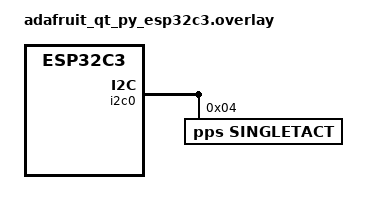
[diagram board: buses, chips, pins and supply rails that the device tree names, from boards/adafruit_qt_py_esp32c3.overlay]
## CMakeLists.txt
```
cmake_minimum_required(VERSION 3.20.0)

find_package(Zephyr REQUIRED HINTS $ENV{ZEPHYR_BASE})
project(force_sensor)

target_sources(app PRIVATE
  src/main.c
  src/shell.c
)
```

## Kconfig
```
mainmenu "Application options"

config APP_WIFI_STACK_SIZE
	int "WiFi manager stack size"
	default 2048

config APP_WIFI_INIT_PRIORITY
	int "WiFi manager init priority"
	default 90

config APP_WIFI_THREAD_PRIORITY
	int "WiFi manager thread priority"
	default 7

source "Kconfig.zephyr"
```

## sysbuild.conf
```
SB_CONFIG_BOOTLOADER_MCUBOOT=y
# SB_CONFIG_MCUBOOT_MODE_SWAP_USING_MOVE=y
```

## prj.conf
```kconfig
# CONFIG_NEWLIB_LIBC=y
CONFIG_HEAP_MEM_POOL_SIZE=49152

# Logging
CONFIG_LOG=y
CONFIG_CBPRINTF_FP_SUPPORT=y

# Flash and Storage
CONFIG_FLASH=y
CONFIG_FLASH_MAP=y
CONFIG_STREAM_FLASH=y
CONFIG_IMG_MANAGER=y
CONFIG_IMG_ERASE_PROGRESSIVELY=y

# Settings
CONFIG_SETTINGS=y
CONFIG_ZMS=y

# Networking
CONFIG_NETWORKING=y
CONFIG_NET_DHCPV4=y
CONFIG_NET_IPV4=y
CONFIG_NET_IPV6=n
CONFIG_NET_L2_ETHERNET=y
CONFIG_NET_L2_WIFI_MGMT=y
CONFIG_NET_L2_WIFI_SHELL=y
CONFIG_NET_SHELL=y
CONFIG_WIFI=y
CONFIG_WIFI_CREDENTIALS=y
CONFIG_WIFI_CREDENTIALS_BACKEND_SETTINGS=y
CONFIG_WIFI_NM=y

# WiFi connection management: conn_mgr + the CONNECTIVITY_WIFI_MGMT
# implementation from the rosterloh-drivers module. Auto-connects at boot
# using stored credentials; provision with: wifi cred add -s <ssid> -k 1 -p <psk>
CONFIG_NET_CONNECTION_MANAGER=y
CONFIG_NET_CONNECTION_MANAGER_CONNECTIVITY_WIFI_MGMT=y
CONFIG_WIFI_CONNECTIVITY=y
```

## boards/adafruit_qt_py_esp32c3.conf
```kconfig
CONFIG_I2C=y
CONFIG_SENSOR=y
# Force ESP32 WiFi to use system heap
# CONFIG_ESP_HEAP_RUNTIME=n
CONFIG_WIFI_STA_AUTO_DHCPV4=y
```

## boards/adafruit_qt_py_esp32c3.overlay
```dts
&i2c0 {
	singletact: singletact@4 {
		compatible = "pps,singletact";
		reg = <0x04>;
		baseline-samples = <5>;
		sensor-rating = <450000>;
		status = "okay";
	};
};
```

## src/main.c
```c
#include <zephyr/kernel.h>
#include <zephyr/app_version.h>

#include <zephyr/logging/log.h>
LOG_MODULE_REGISTER(main);

int main(void)
{
	LOG_INF("Force Sensor %s", APP_VERSION_STRING);

	return 0;
}
```

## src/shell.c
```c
#include <zephyr/device.h>
#include <zephyr/kernel.h>
#include <zephyr/drivers/sensor.h>
#include <zephyr/logging/log.h>
#include <zephyr/shell/shell.h>
#include <drivers/sensor/singletact.h>

LOG_MODULE_REGISTER(test_shell, LOG_LEVEL_INF);

#define TEST_FORCE_START_HELP                                                                      \
	SHELL_HELP("Start reading from force sensor.\n"                                            \
		   "Read interval is optional. Rate is 50ms when no interval provided.",           \
		   "[<read interval in ms>]")

static struct {
	const struct shell *sh;
	const struct device *dev;
	bool reading;
	struct k_timer read_timer;
} test_shell_context;

static void force_read_fn(struct k_timer *timer)
{
	struct sensor_value val;
	float force;
	uint16_t raw, baseline;
	int err;

	// struct test_shell_context *ctx = CONTAINER_OF(timer, struct test_shell_context, timer);

	if (test_shell_context.reading && test_shell_context.dev) {
		/* Read all sensors */
		err = sensor_sample_fetch(test_shell_context.dev);
		if (err) {
			LOG_ERR("Force sensor fetch failed: %d", err);
		}

		sensor_channel_get(test_shell_context.dev, SENSOR_CHAN_RAW, &val);
		raw = val.val1;
		baseline = val.val2;

		sensor_channel_get(test_shell_context.dev, SENSOR_CHAN_FORCE, &val);
		force = sensor_value_to_float(&val);

		LOG_RAW("%d,%d,%.6f\n", raw, baseline, (double)force);
	}
}

static int cmd_force_tare(const struct shell *sh, size_t argc, char *argv[])
{
	return 0;
}

static int cmd_force_set_address(const struct shell *sh, size_t argc, char *argv[])
{
	return 0;
}

static int cmd_force_start(const struct shell *sh, size_t argc, char *argv[])
{
	test_shell_context.sh = sh;
	if (test_shell_context.reading) {
		shell_error(sh, "Force sensor reading is already active.");
		return -ENOEXEC;
	}

	if (argc > 1) {
		int interval = atoi(argv[1]);
		if (interval <= 0) {
			shell_error(sh, "Invalid read interval: %s", argv[1]);
			return -EINVAL;
		}
		test_shell_context.reading = true;
		k_timer_start(&test_shell_context.read_timer, K_NO_WAIT, K_MSEC(interval));
	} else {
		test_shell_context.reading = true;
		k_timer_start(&test_shell_context.read_timer, K_NO_WAIT, K_MSEC(50));
	}

	return 0;
}

static int cmd_force_stop(const struct shell *sh, size_t argc, char *argv[])
{
	test_shell_context.sh = sh;
	if (test_shell_context.reading) {
		k_timer_stop(&test_shell_context.read_timer);
		test_shell_context.reading = false;
		shell_info(sh, "Force sensor reading stopped.");
	} else {
		shell_warn(sh, "Force sensor reading is not active.");
	}

	return 0;
}

SHELL_SUBCMD_SET_CREATE(test_commands, (test));

SHELL_STATIC_SUBCMD_SET_CREATE(
	test_cmd_force,
	SHELL_CMD_ARG(tare, NULL,
		      "Reset the baseline value of the force sensor to current value.\n",
		      cmd_force_tare, 0, 0),
	SHELL_CMD_ARG(set_address, NULL, "Set the address of the force sensor.\n",
		      cmd_force_set_address, 0, 0),
	SHELL_CMD_ARG(start, NULL, TEST_FORCE_START_HELP, cmd_force_start, 0, 1),
	SHELL_CMD_ARG(stop, NULL, "Stop reading from force sensors.\n", cmd_force_stop, 0, 0),
	SHELL_SUBCMD_SET_END);

SHELL_SUBCMD_ADD((test), force, &test_cmd_force, "Force sensor testing.\n", NULL, 0, 0);

SHELL_CMD_REGISTER(test, &test_commands, "Test commands", NULL);

static int test_shell_init(void)
{
	test_shell_context.sh = NULL;
	test_shell_context.dev = DEVICE_DT_GET_ONE(pps_singletact);
	test_shell_context.reading = false;

	if (!device_is_ready(test_shell_context.dev)) {
		LOG_ERR("Force sensor device %s is not ready.", test_shell_context.dev->name);
		test_shell_context.dev = NULL;
	} else {
		LOG_DBG("Force sensor device %s is ready.", test_shell_context.dev->name);
	}

	k_timer_init(&test_shell_context.read_timer, force_read_fn, NULL);

	return 0;
}

SYS_INIT(test_shell_init, APPLICATION, CONFIG_KERNEL_INIT_PRIORITY_DEFAULT);
```

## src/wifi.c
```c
#include <zephyr/logging/log.h>
LOG_MODULE_REGISTER(wifi, LOG_LEVEL_INF);

#include <zephyr/device.h>
#include <zephyr/kernel.h>
#include <zephyr/net/net_mgmt.h>
#include <zephyr/net/wifi_credentials.h>
#include <zephyr/net/wifi_mgmt.h>
#include <zephyr/pm/device.h>
#include <zephyr/settings/settings.h>
#include <zephyr/shell/shell.h>

#define WIFI_MANAGER_MGMT_EVENTS (NET_EVENT_WIFI_CONNECT_RESULT | NET_EVENT_WIFI_DISCONNECT_RESULT)

#define NET_STATE_WIFI_CONNECTED  BIT(0)
#define NET_STATE_WIFI_CONNECTING BIT(1)
#define NET_STATE_IPV4_READY      BIT(2)

enum wifi_state {
	WIFI_STATE_IDLE,
	WIFI_STATE_WAITING_FOR_LOWER_UP,
	WIFI_STATE_CONNECTING,
	WIFI_STATE_DISCONNECTING,
	WIFI_STATE_READY,
	WIFI_STATE_LAST = WIFI_STATE_READY,
	WIFI_STATE_INVALID,
	WIFI_STATE_WAIT,
};

enum wifi_event {
	WIFI_EVENT_START,
	WIFI_EVENT_LOWER_UP,
	WIFI_EVENT_CONNECTED,
	WIFI_EVENT_DISCONNECTED,
	WIFI_EVENT_IP_ADD,
	WIFI_EVENT_IP_DEL,
};

struct wifi_manager_config {
	k_thread_stack_t *workq_stack;
	size_t workq_stack_size;
	struct k_work_queue_config workq_config;
};

enum wifi_manager_flags {
	WIFI_FLAG_ENABLE,
	WIFI_FLAG_RECONNECT,
};

struct wifi_manager_data {
	struct net_if *iface;

	struct k_work_q workq;
	enum wifi_state state;

	atomic_t net_state;
	struct k_work net_mgmt_event_work;
	int net_state_old;

	atomic_t flags;

	enum wifi_event event;
	struct k_work event_work;

	struct net_mgmt_event_callback ipv4_mgmt_cb;
	struct net_mgmt_event_callback wifi_mgmt_cb;
};

static const char *wifi_state_str(enum wifi_state state)
{
	switch (state) {
	case WIFI_STATE_IDLE:
		return "IDLE";
	case WIFI_STATE_WAITING_FOR_LOWER_UP:
		return "WAIT_FOR_LOWER_UP";
	case WIFI_STATE_CONNECTING:
		return "CONNECTING";
	case WIFI_STATE_DISCONNECTING:
		return "DISCONNECTING";
	case WIFI_STATE_READY:
		return "READY";
	case WIFI_STATE_INVALID:
		return "INVALID";
	case WIFI_STATE_WAIT:
	default:
		return "WAIT";
	}

	return "";
}

static const char *wifi_event_str(enum wifi_event event)
{
	switch (event) {
	case WIFI_EVENT_START:
		return "START";
	case WIFI_EVENT_LOWER_UP:
		return "LOWER_UP";
	case WIFI_EVENT_CONNECTED:
		return "CONNECTED";
	case WIFI_EVENT_DISCONNECTED:
		return "DISCONNECTED";
	case WIFI_EVENT_IP_ADD:
		return "IP_ADD";
	case WIFI_EVENT_IP_DEL:
		return "IP_DEL";
	}

	return "";
}

#define MAP_OFFSET 1

#define IDL      (WIFI_STATE_IDLE + MAP_OFFSET)
#define LUP      (WIFI_STATE_WAITING_FOR_LOWER_UP + MAP_OFFSET)
#define CON      (WIFI_STATE_CONNECTING + MAP_OFFSET)
#define DIS      (WIFI_STATE_DISCONNECTING + MAP_OFFSET)
#define RDY      (WIFI_STATE_READY + MAP_OFFSET)
#define INV      (WIFI_STATE_INVALID + MAP_OFFSET)
#define WAIT(ms) (WIFI_STATE_WAIT + MAP_OFFSET + (ms))

static const int wifi_state_change_map[][WIFI_STATE_LAST + 1] = {
	/* IDL, LUP,       CON,         DIS,        RDY */
	[WIFI_EVENT_START] = {LUP, WAIT(100), INV, INV, INV},
	[WIFI_EVENT_LOWER_UP] = {INV, CON, INV, INV, INV},
	[WIFI_EVENT_CONNECTED] = {INV, INV, 0, WAIT(3000), 0},
	[WIFI_EVENT_DISCONNECTED] = {INV, INV, WAIT(1000), IDL, CON},
	[WIFI_EVENT_IP_ADD] = {INV, INV, RDY, RDY, 0},
	[WIFI_EVENT_IP_DEL] = {INV, INV, 0, 0, CON},
};

static uint8_t wifi_ssid[WIFI_SSID_MAX_LEN];
static size_t wifi_ssid_len;
static bool has_creds = false;

static void wifi_event_notify(struct wifi_manager_data *wifi_mgmt, enum wifi_event event)
{
	wifi_mgmt->event = event;
	k_work_submit_to_queue(&wifi_mgmt->workq, &wifi_mgmt->event_work);
}

/**
 * @brief Update CONNECTING flag from wifi_mgmt workqueue
 *
 * @note This function needs to be used only from within workqueue, as it
 * accesses both atomic 'net_state' and unprotected 'net_state_old'.
 * 'net_state_old' is altered to make clear that CONNECTING state is up-to-date
 * with workqueue processing logic.
 */
static void wifi_mgmt_connecting_update(struct wifi_manager_data *wifi_mgmt, bool connecting)
{
	if (connecting) {
		atomic_or(&wifi_mgmt->net_state, NET_STATE_WIFI_CONNECTING);
		wifi_mgmt->net_state_old |= NET_STATE_WIFI_CONNECTING;
	} else {
		atomic_and(&wifi_mgmt->net_state, ~NET_STATE_WIFI_CONNECTING);
		wifi_mgmt->net_state_old &= ~NET_STATE_WIFI_CONNECTING;
	}
}

static void check_stored_creds(void *cb_arg, const char *ssid, size_t ssid_len)
{
	int ret = 0;
	struct wifi_credentials_personal creds = {0};

	ret = wifi_credentials_get_by_ssid_personal_struct(ssid, ssid_len, &creds);
	if (ret == 0) {
		has_creds = true;
		memcpy(wifi_ssid, creds.header.ssid, creds.header.ssid_len);
		wifi_ssid_len = creds.header.ssid_len;
	}
}

static void wifi_connect(struct wifi_manager_data *wifi_mgmt)
{
	int err;

	wifi_credentials_for_each_ssid(check_stored_creds, NULL);
	if (!has_creds) {
		LOG_DBG("No Wi-Fi credentials found");
		wifi_event_notify(wifi_mgmt, WIFI_EVENT_DISCONNECTED);
		return;
	}

	LOG_INF("Connecting to '%.*s'", wifi_ssid_len, wifi_ssid);

	wifi_mgmt_connecting_update(wifi_mgmt, true);

	// err = net_mgmt(NET_REQUEST_WIFI_CONNECT, wifi_mgmt->iface, &params, sizeof(params));
	err = net_mgmt(NET_REQUEST_WIFI_CONNECT, wifi_mgmt->iface, NULL, 0);
	if (err == -EALREADY) {
		LOG_INF("already connected");

		wifi_mgmt_connecting_update(wifi_mgmt, false);

		if (atomic_test_and_clear_bit(&wifi_mgmt->flags, WIFI_FLAG_RECONNECT)) {
			LOG_INF("reconnecting");

			err = net_mgmt(NET_REQUEST_WIFI_DISCONNECT, wifi_mgmt->iface, NULL, 0);
			if (err) {
				LOG_ERR("failed to request disconnect: %d", err);
				goto handle_err;
			}
		} else {
			wifi_event_notify(wifi_mgmt, WIFI_EVENT_CONNECTED);
		}
	} else if (err) {
		LOG_ERR("failed to request connect: %d", err);
		goto handle_err;
	}

	return;

handle_err:
	wifi_mgmt_connecting_update(wifi_mgmt, false);
	wifi_event_notify(wifi_mgmt, WIFI_EVENT_DISCONNECTED);
}

static void wifi_disconnect(struct wifi_manager_data *wifi_mgmt)
{
	int err;

	err = net_mgmt(NET_REQUEST_WIFI_DISCONNECT, wifi_mgmt->iface, NULL, 0);
	if (err) {
		LOG_ERR("failed to request disconnect: %d", err);
		wifi_event_notify(wifi_mgmt, WIFI_EVENT_DISCONNECTED);
	}
}

static void wifi_check_lower_up(struct wifi_manager_data *wifi_mgmt)
{
	if (IS_ENABLED(CONFIG_WIFI_ESP32) ||
	    net_if_flag_is_set(wifi_mgmt->iface, NET_IF_LOWER_UP)) {
		wifi_event_notify(wifi_mgmt, WIFI_EVENT_LOWER_UP);
	} else {
		wifi_event_notify(wifi_mgmt, WIFI_EVENT_START);
	}
}

static void wifi_ready(struct wifi_manager_data *wifi_mgmt)
{
	LOG_DBG("ready");
}

static void wifi_state_change(struct wifi_manager_data *wifi_mgmt, enum wifi_state state)
{
	LOG_DBG("state %s (%d) -> %s (%d)", wifi_state_str(wifi_mgmt->state), wifi_mgmt->state,
		wifi_state_str(state), state);

	wifi_mgmt->state = state;
}

static void net_mgmt_event_handle(struct k_work *work)
{
	struct wifi_manager_data *wifi_mgmt =
		CONTAINER_OF(work, struct wifi_manager_data, net_mgmt_event_work);
	atomic_val_t net_state = atomic_get(&wifi_mgmt->net_state);

	if (wifi_mgmt->net_state_old == net_state) {
		/* Nothing to do */
		return;
	}

	if (net_state & NET_STATE_IPV4_READY) {
		wifi_event_notify(wifi_mgmt, WIFI_EVENT_IP_ADD);
	} else if (net_state & NET_STATE_WIFI_CONNECTED) {
		if (wifi_mgmt->net_state_old & NET_STATE_WIFI_CONNECTED) {
			wifi_event_notify(wifi_mgmt, WIFI_EVENT_IP_DEL);
		} else {
			wifi_event_notify(wifi_mgmt, WIFI_EVENT_CONNECTED);
		}
	} else {
		wifi_event_notify(wifi_mgmt, WIFI_EVENT_DISCONNECTED);
	}

	wifi_mgmt->net_state_old = net_state;
}

static void wifi_event_handle(struct k_work *work)
{
	struct wifi_manager_data *wifi_mgmt =
		CONTAINER_OF(work, struct wifi_manager_data, event_work);
	enum wifi_event event = wifi_mgmt->event;
	enum wifi_state old_state = wifi_mgmt->state;
	int map_value = wifi_state_change_map[event][old_state];
	enum wifi_state new_state = map_value - MAP_OFFSET;
	int sleep_msec = 0;

	if (map_value - MAP_OFFSET >= WIFI_STATE_WAIT) {
		new_state = old_state;
		sleep_msec = map_value - MAP_OFFSET - (int)WIFI_STATE_WAIT;
	}

	if (map_value == 0) {
		LOG_DBG("Nothing to do according to state map (state %s[%d])",
			wifi_state_str(old_state), (int)old_state);
		return;
	}

	LOG_DBG("event %s (%d) (%s[%d] -> %s[%d])", wifi_event_str(event), event,
		wifi_state_str(old_state), (int)old_state, wifi_state_str(new_state),
		(int)new_state);

	if (new_state == WIFI_STATE_INVALID) {
		LOG_ERR("Invalid event %s (%d) during state %s (%d)", wifi_event_str(event), event,
			wifi_state_str(old_state), old_state);
		return;
	}

	wifi_state_change(wifi_mgmt, new_state);

	if (new_state == old_state) {
		/* Give a bit of time between retries */
		LOG_DBG("Sleeping for %d ms", sleep_msec);
		k_sleep(K_MSEC(sleep_msec));
	}

	switch (new_state) {
	case WIFI_STATE_IDLE:
		break;
	case WIFI_STATE_WAITING_FOR_LOWER_UP:
		wifi_check_lower_up(wifi_mgmt);
		break;
	case WIFI_STATE_CONNECTING:
		wifi_connect(wifi_mgmt);
		break;
	case WIFI_STATE_DISCONNECTING:
		wifi_disconnect(wifi_mgmt);
		break;
	case WIFI_STATE_READY:
		wifi_ready(wifi_mgmt);
		break;
	case WIFI_STATE_INVALID:
	case WIFI_STATE_WAIT:
		break;
	}
}

static inline atomic_val_t atomic_update(atomic_t *target, atomic_val_t value, atomic_val_t mask)
{
	atomic_val_t flags;

	do {
		flags = atomic_get(target);
	} while (!atomic_cas(target, flags, (flags & ~mask) | value));

	return flags;
}

static void ipv4_changed(struct net_mgmt_event_callback *cb, uint64_t mgmt_event,
			 struct net_if *iface)
{
	struct wifi_manager_data *wifi_mgmt =
		CONTAINER_OF(cb, struct wifi_manager_data, ipv4_mgmt_cb);

	LOG_DBG("ipv4 event: %llx", (unsigned long long)mgmt_event);

	switch (mgmt_event) {
	case NET_EVENT_IPV4_ADDR_ADD:
		atomic_or(&wifi_mgmt->net_state, NET_STATE_IPV4_READY);
		k_work_submit_to_queue(&wifi_mgmt->workq, &wifi_mgmt->net_mgmt_event_work);
		break;
	case NET_EVENT_IPV4_ADDR_DEL:
		atomic_and(&wifi_mgmt->net_state, ~NET_STATE_IPV4_READY);
		k_work_submit_to_queue(&wifi_mgmt->workq, &wifi_mgmt->net_mgmt_event_work);
		break;
	}
}

static inline int wifi_connect_error(const struct wifi_status *status)
{
	return status->status;
}

static void wifi_mgmt_event_handler(struct net_mgmt_event_callback *cb, uint64_t mgmt_event,
				    struct net_if *iface)
{
	struct wifi_manager_data *wifi_mgmt =
		CONTAINER_OF(cb, struct wifi_manager_data, wifi_mgmt_cb);
	const struct wifi_status *status = cb->info;

	LOG_DBG("wifi event: %llx", (unsigned long long)mgmt_event);

	switch (mgmt_event) {
	case NET_EVENT_WIFI_CONNECT_RESULT:
		if (wifi_connect_error(status)) {
			atomic_and(&wifi_mgmt->net_state,
				   ~(NET_STATE_WIFI_CONNECTED | NET_STATE_WIFI_CONNECTING |
				     NET_STATE_IPV4_READY));
		} else {
			atomic_update(&wifi_mgmt->net_state, NET_STATE_WIFI_CONNECTED,
				      (NET_STATE_WIFI_CONNECTED | NET_STATE_WIFI_CONNECTING));
		}
		k_work_submit_to_queue(&wifi_mgmt->workq, &wifi_mgmt->net_mgmt_event_work);
		break;
	case NET_EVENT_WIFI_DISCONNECT_RESULT:
		atomic_and(&wifi_mgmt->net_state,
			   ~(NET_STATE_WIFI_CONNECTED | NET_STATE_WIFI_CONNECTING |
			     NET_STATE_IPV4_READY));
		k_work_submit_to_queue(&wifi_mgmt->workq, &wifi_mgmt->net_mgmt_event_work);
		break;
	default:
		break;
	}
}

static struct wifi_manager_data wifi_manager_data;

K_THREAD_STACK_DEFINE(wifi_manager_work_q_stack, CONFIG_APP_WIFI_STACK_SIZE);

static const struct wifi_manager_config wifi_manager_config = {
	.workq_stack = wifi_manager_work_q_stack,
	.workq_stack_size = K_THREAD_STACK_SIZEOF(wifi_manager_work_q_stack),
	.workq_config =
		{
			.name = "wifi_manager",
		},
};

static int wifi_manager_init(void)
{
	struct wifi_manager_data *wifi_mgmt = &wifi_manager_data;
	const struct wifi_manager_config *config = &wifi_manager_config;

	wifi_mgmt->iface = net_if_get_first_wifi();
	__ASSERT_NO_MSG(wifi_mgmt->iface);

	k_work_queue_start(&wifi_mgmt->workq, config->workq_stack, config->workq_stack_size,
			   CONFIG_APP_WIFI_THREAD_PRIORITY, &config->workq_config);
	k_work_init(&wifi_mgmt->event_work, wifi_event_handle);
	k_work_init(&wifi_mgmt->net_mgmt_event_work, net_mgmt_event_handle);

	net_mgmt_init_event_callback(&wifi_mgmt->ipv4_mgmt_cb, ipv4_changed,
				     NET_EVENT_IPV4_ADDR_ADD | NET_EVENT_IPV4_ADDR_DEL);
	net_mgmt_add_event_callback(&wifi_mgmt->ipv4_mgmt_cb);

	net_mgmt_init_event_callback(&wifi_mgmt->wifi_mgmt_cb, wifi_mgmt_event_handler,
				     WIFI_MANAGER_MGMT_EVENTS);
	net_mgmt_add_event_callback(&wifi_mgmt->wifi_mgmt_cb);

	wifi_event_notify(wifi_mgmt, WIFI_EVENT_START);
	k_work_submit_to_queue(&wifi_mgmt->workq, &wifi_mgmt->event_work);

	return 0;
}

SYS_INIT(wifi_manager_init, APPLICATION, CONFIG_APP_WIFI_INIT_PRIORITY);
```
